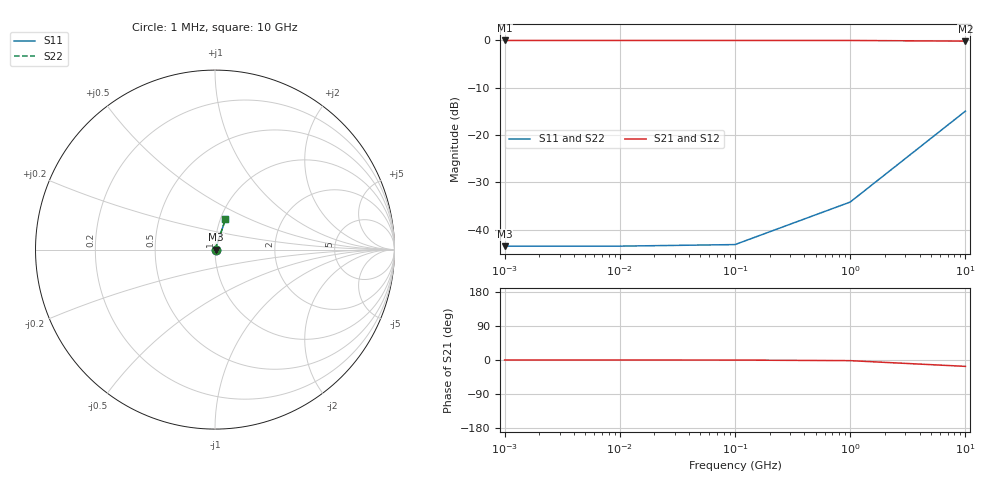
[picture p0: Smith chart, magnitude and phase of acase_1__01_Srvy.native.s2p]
! Sonnet Data File
! From: em Version : 18.53-Lite
! From Project: acase_1__01_Srvy
! Data is NOT De-embedded
! Data File Written: 10/12/2026 12:06:47
!< HDATE 10/12/2026 12:06:47
!< MDATE 10/12/2026 12:06:47
# GHZ S RI R 50.00000
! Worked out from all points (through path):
!   5 points, 1 MHz to 10 GHz, reference 50 ohm
!   highest |S21| = -0.06 dB at 1 MHz (marker M1); lowest = -0.2 dB at 10 GHz (marker M2)
!   lowest |S11| = -43.5 dB at 1 MHz (marker M3), VSWR 1.01, Z = 50.7 + j0.00191 ohm
!   |S11| at or under -10 dB: start of sweep to end of sweep
!   |S22| runs from -43.5 to -15.0 dB; largest |S21 - S12| = 4.4e-13
0.001  0.00668 1.88e-05  0.9933 -3.02e-05  0.9933 -3.02e-05  0.00668 1.88e-05
0.01  0.00668 0.000186  0.9933 -0.0003  0.9933 -0.0003  0.00668 0.000186
0.1  0.0067 0.00183  0.9933 -0.00296  0.9933 -0.00296  0.0067 0.00183
1  0.00727 0.0181  0.9927 -0.0295  0.9927 -0.0295  0.00727 0.0181
10  0.0581 0.1683  0.9354 -0.2825  0.9354 -0.2825  0.0581 0.1683
